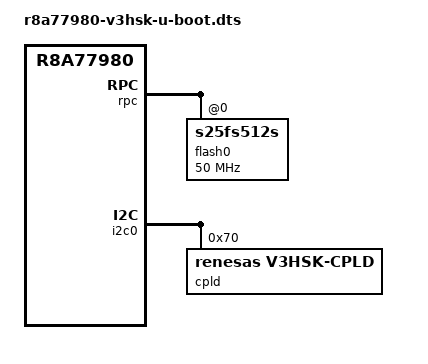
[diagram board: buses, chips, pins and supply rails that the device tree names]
// SPDX-License-Identifier: GPL-2.0
/*
 * Device Tree Source extras for U-Boot for the Eagle board
 *
 * Copyright (C) 2019 Cogent Embedded, Inc.
 */

#include "r8a77980-v3hsk.dts"
#include "r8a77980-u-boot.dtsi"

/ {
	aliases {
		spi0 = &rpc;
	};
};

&rpc {
	num-cs = <1>;
	status = "okay";
	spi-max-frequency = <50000000>;
	#address-cells = <1>;
	#size-cells = <0>;

	flash0: spi-flash@0 {
		#address-cells = <1>;
		#size-cells = <1>;
		compatible = "s25fs512s", "spi-flash", "jedec,spi-nor";
		spi-max-frequency = <50000000>;
		spi-tx-bus-width = <1>;
		spi-rx-bus-width = <1>;
		reg = <0>;
		status = "okay";
	};
};

&i2c0 {
	cpld {
		compatible = "renesas,v3hsk-cpld";
		reg = <0x70>;
		u-boot,i2c-offset-len = <2>;
	};
};
